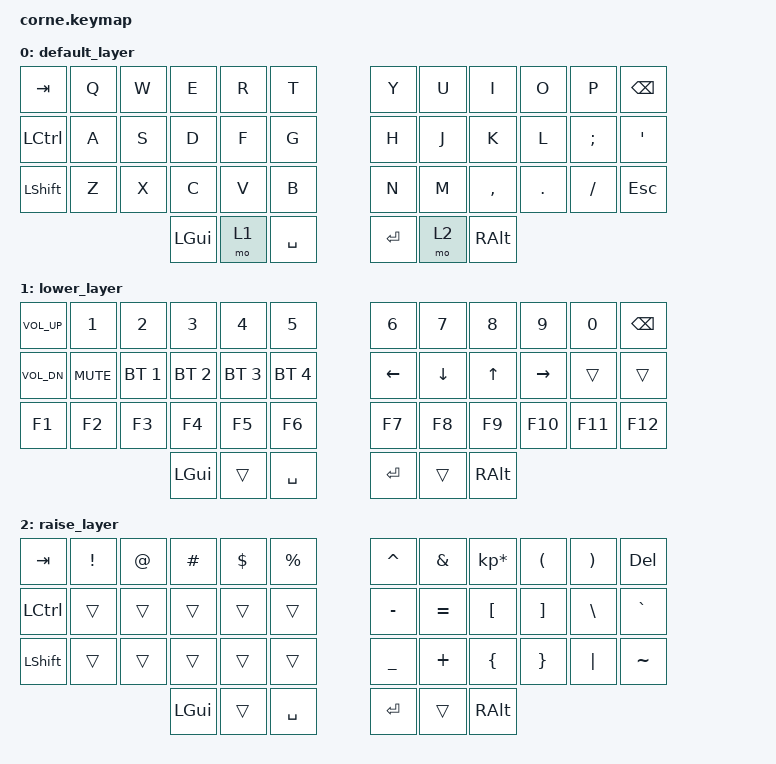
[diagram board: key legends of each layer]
/*
 * Copyright (c) 2020 The ZMK Contributors
 *
 * SPDX-License-Identifier: MIT
 */

#include <behaviors.dtsi>
#include <dt-bindings/zmk/keys.h>
#include <dt-bindings/zmk/bt.h>

/ {
        keymap {
                compatible = "zmk,keymap";

                default_layer {
// -----------------------------------------------------------------------------------------
// |  TAB |  Q  |  W  |  E  |  R  |  T  |   |  Y  |  U   |  I  |  O  |  P  | BKSP |
// | CTRL |  A  |  S  |  D  |  F  |  G  |   |  H  |  J   |  K  |  L  |  ;  |  '   |
// | SHFT |  Z  |  X  |  C  |  V  |  B  |   |  N  |  M   |  ,  |  .  |  /  | ESC  |
//                    | GUI | LWR | SPC |   | ENT | RSE  | ALT |
                        bindings = <
   &kp TAB   &kp Q &kp W &kp E &kp R &kp T   &kp Y &kp U  &kp I     &kp O   &kp P    &kp BSPC
   &kp LCTRL &kp A &kp S &kp D &kp F &kp G   &kp H &kp J  &kp K     &kp L   &kp SEMI &kp SQT
   &kp LSHFT &kp Z &kp X &kp C &kp V &kp B   &kp N &kp M  &kp COMMA &kp DOT &kp FSLH &kp ESC
                  &kp LGUI &mo 1 &kp SPACE   &kp RET &mo 2 &kp RALT
                        >;
                };
                lower_layer {
// -----------------------------------------------------------------------------------------
// | VOL+ |  1  |  2  |  3  |  4  |  5  |   |  6  |  7  |  8  |  9  |  0  | BKSP |
// | VOL- | MUT | BT2 | BT3 | BT4 | BT5 |   | LFT | DWN |  UP | RGT |     |      |
// | F1   |     |     |     |     |     |   |     |     |     |     |     | F12  |
//                    | GUI |     | SPC |   | ENT |     | ALT |
                        bindings = <
   &kp C_VOL_UP  &kp N1       &kp N2       &kp N3       &kp N4       &kp N5         &kp N6   &kp N7   &kp N8 &kp N9    &kp N0 &kp BSPC
   &kp C_VOL_DN  &kp C_MUTE  &bt BT_SEL 1 &bt BT_SEL 2 &bt BT_SEL 3 &bt BT_SEL 4   &kp LEFT &kp DOWN &kp UP &kp RIGHT &trans &trans
   &kp F1   &kp F2   &kp F3   &kp F4   &kp F5  &kp F6   &kp F7  &kp F8   &kp F9   &kp F10  &kp F11  &kp F12
                          	        &kp LGUI     &trans       &kp SPACE      &kp RET  &trans   &kp RALT
                        >;
                };

                raise_layer {
// -----------------------------------------------------------------------------------------
// |  TAB |  !  |  @  |  #  |  $  |  %  |   |  ^  |  &  |  *  |  (  |  )  | DEL  |
// | CTRL |     |     |     |     |     |   |  -  |  =  |  [  |  ]  |  \  |  `   |
// | SHFT |     |     |     |     |     |   |  _  |  +  |  {  |  }  | "|" |  ~   |
//                    | GUI |     | SPC |   | ENT |     | ALT |
                        bindings = <
   &kp  TAB  &kp EXCL &kp AT &kp HASH &kp DLLR &kp PRCNT   &kp CARET &kp AMPS  &kp KP_MULTIPLY &kp LPAR &kp RPAR &kp DEL
   &kp LCTRL &trans   &trans &trans   &trans   &trans      &kp MINUS &kp EQUAL &kp LBKT        &kp RBKT &kp BSLH &kp GRAVE
   &kp LSHFT &trans   &trans &trans   &trans   &trans      &kp UNDER &kp PLUS  &kp LBRC        &kp RBRC &kp PIPE &kp TILDE
                    	     &kp LGUI &trans   &kp SPACE   &kp RET   &trans    &kp RALT
                        >;
                };
        };
};
